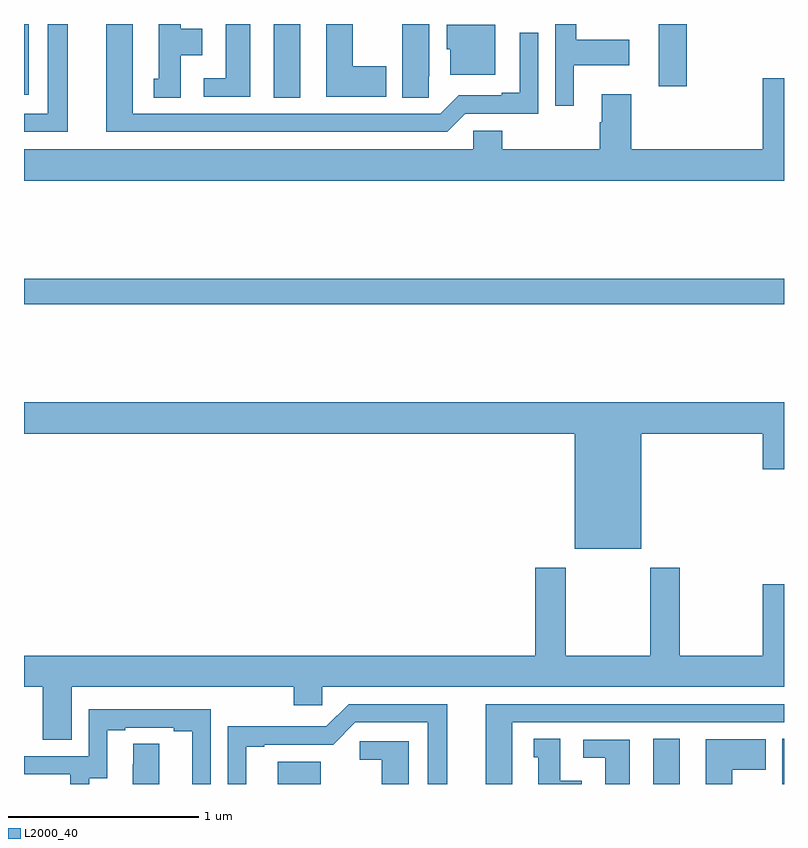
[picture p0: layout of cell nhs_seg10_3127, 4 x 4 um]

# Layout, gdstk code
import gdstk
lib = gdstk.Library(unit=1e-6, precision=1e-09)
def R(c, l, rs):  # rectangles x0, y0, x1, y1
    for r in rs: c.add(gdstk.rectangle(r[:2], r[2:], *l))
def P(c, l, *ps):  # polygons
    for p in ps: c.add(gdstk.Polygon(p, *l))
L2000_40 = (2000, 40)

nhs_seg10_3127 = lib.new_cell('nhs_seg10_3127')
R(nhs_seg10_3127, L2000_40, [(282.335,1270.5,282.562,1270.618), (284.312,1270.5,284.452,1270.739), (284.99,1270.5,285,1270.739), (281,1273.024,285,1273.16), (282.314,1274.113,282.454,1274.5), (281,1274.127,281.026,1274.5), (284.342,1274.172,284.489,1274.5)])
P(nhs_seg10_3127, L2000_40, [(282.907,1274.277),(282.73,1274.277),(282.73,1274.5),(282.59,1274.5),(282.59,1274.117),(282.907,1274.117)],
  [(281.824,1274.336),(281.938,1274.336),(281.938,1274.476),(281.824,1274.476),(281.824,1274.5),(281.708,1274.5),(281.708,1274.211),(281.684,1274.211),(281.684,1274.113),(281.824,1274.113)],
  [(283.323,1274.028),(283.707,1274.028),(283.707,1274.455),(283.61,1274.455),(283.61,1274.137),(283.514,1274.137),(283.514,1274.124),(283.287,1274.124),(283.191,1274.028),(281.572,1274.028),(281.572,1274.5),(281.432,1274.5),(281.432,1273.932),(283.227,1273.932)],
  [(281.23,1274.5),(281.126,1274.5),(281.126,1274.028),(281,1274.028),(281,1273.932),(281.23,1273.932)],
  [(282.19,1274.5),(282.062,1274.5),(282.062,1274.214),(281.946,1274.214),(281.946,1274.118),(282.19,1274.118)],
  [(283.131,1274.224),(283.132,1274.224),(283.132,1274.5),(282.992,1274.5),(282.992,1274.113),(283.131,1274.113)],
  [(283.894,1274.282),(284.185,1274.282),(284.185,1274.417),(283.906,1274.417),(283.906,1274.5),(283.797,1274.5),(283.797,1274.07),(283.894,1274.07)],
  [(283.48,1274.497),(283.226,1274.497),(283.226,1274.367),(283.244,1274.367),(283.244,1274.234),(283.48,1274.234)],
  [(285,1274.215),(284.888,1274.215),(284.888,1273.84),(284.195,1273.84),(284.195,1274.131),(284.042,1274.131),(284.042,1273.982),(284.03,1273.982),(284.03,1273.84),(283.517,1273.84),(283.517,1273.938),(283.365,1273.938),(283.365,1273.84),(281,1273.84),(281,1273.676),(285,1273.676)],
  [(284.248,1272.344),(284.888,1272.344),(284.888,1272.156),(285,1272.156),(285,1272.508),(281,1272.508),(281,1272.344),(283.898,1272.344),(283.898,1271.738),(284.248,1271.738)],
  [(281.251,1271.012),(282.419,1271.012),(282.419,1270.914),(282.57,1270.914),(282.57,1271.012),(285,1271.012),(285,1271.551),(284.888,1271.551),(284.888,1271.176),(284.451,1271.176),(284.451,1271.638),(284.296,1271.638),(284.296,1271.176),(283.851,1271.176),(283.851,1271.638),(283.691,1271.638),(283.691,1271.176),(281,1271.176),(281,1271.012),(281.099,1271.012),(281.099,1270.732),(281.251,1270.732)],
  [(282.169,1270.695),(282.265,1270.695),(282.265,1270.707),(282.627,1270.707),(282.744,1270.824),(283.124,1270.824),(283.124,1270.5),(283.228,1270.5),(283.228,1270.92),(282.708,1270.92),(282.591,1270.803),(282.335,1270.803),(282.335,1270.805),(282.072,1270.805),(282.072,1270.5),(282.169,1270.5)],
  [(283.57,1270.824),(285,1270.824),(285,1270.92),(283.43,1270.92),(283.43,1270.5),(283.57,1270.5)],
  [(281.343,1270.531),(281.437,1270.531),(281.437,1270.782),(281.533,1270.782),(281.533,1270.797),(281.789,1270.797),(281.789,1270.777),(281.885,1270.777),(281.885,1270.5),(281.982,1270.5),(281.982,1270.893),(281.34,1270.893),(281.34,1270.647),(281,1270.647),(281,1270.551),(281.243,1270.551),(281.243,1270.55),(281.244,1270.55),(281.244,1270.5),(281.343,1270.5)],
  [(283.936,1270.516),(283.822,1270.516),(283.822,1270.739),(283.682,1270.739),(283.682,1270.641),(283.706,1270.641),(283.706,1270.5),(283.936,1270.5)],
  [(284.728,1270.576),(284.905,1270.576),(284.905,1270.735),(284.588,1270.735),(284.588,1270.5),(284.728,1270.5)],
  [(284.188,1270.734),(283.944,1270.734),(283.944,1270.638),(284.06,1270.638),(284.06,1270.5),(284.188,1270.5)],
  [(283.024,1270.725),(282.768,1270.725),(282.768,1270.628),(282.884,1270.628),(282.884,1270.5),(283.024,1270.5)],
  [(281.713,1270.712),(281.574,1270.712),(281.574,1270.604),(281.573,1270.604),(281.573,1270.5),(281.713,1270.5)])

lib.write_gds('nhs_seg10_3127.gds')
